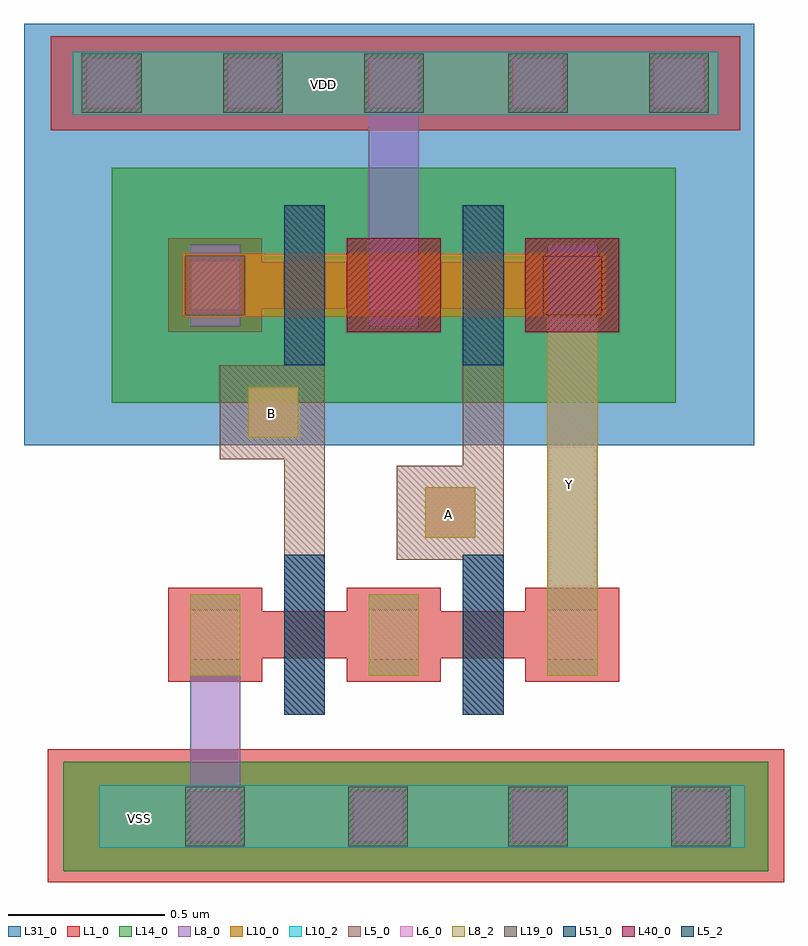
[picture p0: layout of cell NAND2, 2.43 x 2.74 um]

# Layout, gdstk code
import gdstk
lib = gdstk.Library(unit=1e-6, precision=5e-09)
def R(c, l, rs):  # rectangles x0, y0, x1, y1
    for r in rs: c.add(gdstk.rectangle(r[:2], r[2:], *l))
def A(c, l, x, y, w, h, nx, ny, dx, dy):  # array of equal rectangles
    R(c, l, [(x+i*dx, y+j*dy, x+i*dx+w, y+j*dy+h) for i in range(nx) for j in range(ny)])
L1_0 = (1, 0)
L5_0 = (5, 0)
L5_2 = (5, 2)
L6_0 = (6, 0)
L8_0 = (8, 0)
L8_2 = (8, 2)
L10_0 = (10, 0)
L10_2 = (10, 2)
L14_0 = (14, 0)
L19_0 = (19, 0)
L31_0 = (31, 0)
L40_0 = (40, 0)
L51_0 = (51, 0)

nmos = lib.new_cell('nmos')
R(nmos, L1_0, [(0,0,0.3,0.3), (0.57,0,0.87,0.3), (0,0.075,0.87,0.225)])
R(nmos, L5_0, [(0.37,-0.105,0.5,0.405)])
R(nmos, L5_2, [(0.37,-0.105,0.5,0.405)])
R(nmos, L6_0, [(0.07,0.07,0.23,0.23), (0.64,0.07,0.8,0.23)])
R(nmos, L8_0, [(0.07,0.02,0.23,0.28), (0.64,0.02,0.8,0.28)])
R(nmos, L8_2, [(0.07,0.02,0.23,0.28), (0.64,0.02,0.8,0.28)])
R(nmos, L51_0, [(0.37,-0.105,0.5,0.405)])
nmos.add(gdstk.Label('nmos', (0.435,0.15), layer=63, texttype=0))
nmos.add(gdstk.Label('nmos', (0.435,0.15), layer=51, texttype=0))

pmos = lib.new_cell('pmos')
R(pmos, L1_0, [(0,0,0.3,0.3), (0.57,0,0.87,0.3), (0,0.075,0.87,0.225)])
R(pmos, L5_0, [(0.37,-0.105,0.5,0.405), (0.37,-0.105,0.5,0.405)])
R(pmos, L6_0, [(0.07,0.07,0.23,0.23), (0.64,0.07,0.8,0.23)])
R(pmos, L8_0, [(0.07,0.02,0.23,0.28), (0.07,0.02,0.23,0.28), (0.64,0.02,0.8,0.28), (0.64,0.02,0.8,0.28)])
R(pmos, L14_0, [(-0.18,-0.225,1.05,0.525)])
R(pmos, L31_0, [(-0.31,-0.31,1.18,0.61)])
R(pmos, L40_0, [(0.57,0,0.87,0.3)])
R(pmos, L51_0, [(0.37,-0.105,0.5,0.405)])
pmos.add(gdstk.Label('pmos', (0.435,0.15), layer=63, texttype=0))
pmos.add(gdstk.Label('pmos', (0.435,0.15), layer=51, texttype=0))

nand2 = lib.new_cell('NAND2')
R(nand2, L1_0, [(-1.25,-0.63,1.1,-0.205), (-1.24,1.77,0.96,2.07)])
R(nand2, L5_0, [(-0.495,0.355,-0.365,1.05), (0.075,0.37,0.205,1.065), (-0.135,0.4,0.165,0.7), (-0.7,0.72,-0.4,1.02)])
A(nand2, L6_0, -1.125, 1.84, 0.16, 0.16, 3, 1, 0.45, 0)
R(nand2, L6_0, [(-0.795,-0.5,-0.635,-0.34), (-0.275,-0.5,-0.115,-0.34), (0.235,-0.5,0.395,-0.34), (0.755,-0.5,0.915,-0.34), (-0.045,0.47,0.115,0.63), (-0.61,0.79,-0.45,0.95), (0.235,1.84,0.395,2), (0.685,1.84,0.845,2)])
A(nand2, L8_0, -1.125, 1.84, 0.16, 0.16, 3, 1, 0.45, 0)
R(nand2, L8_0, [(-0.795,-0.5,-0.635,-0.34), (-0.795,-0.5,-0.635,0.24), (-0.275,-0.5,-0.115,-0.34), (0.235,-0.5,0.395,-0.34), (0.755,-0.5,0.915,-0.34), (0.345,0.08,0.505,1.355), (-0.045,0.47,0.115,0.63), (-0.61,0.79,-0.45,0.95), (-0.225,1.195,-0.065,2), (0.235,1.84,0.395,2), (0.685,1.84,0.845,2)])
R(nand2, L8_2, [(0.345,0.08,0.505,1.355), (-0.045,0.47,0.115,0.63), (-0.61,0.79,-0.45,0.95)])
R(nand2, L10_0, [(-1.085,-0.52,0.975,-0.32), (-0.82,1.175,0.53,1.375), (-1.17,1.82,0.89,2.02)])
R(nand2, L10_2, [(-1.085,-0.52,0.975,-0.32), (-1.17,1.82,0.89,2.02)])
R(nand2, L14_0, [(-1.2,-0.595,1.05,-0.245)])
A(nand2, L19_0, -1.14, 1.825, 0.19, 0.19, 3, 1, 0.45, 0)
R(nand2, L19_0, [(-0.81,-0.515,-0.62,-0.325), (-0.29,-0.515,-0.1,-0.325), (0.22,-0.515,0.41,-0.325), (0.74,-0.515,0.93,-0.325), (-0.81,1.18,-0.62,1.37), (0.33,1.18,0.52,1.37), (0.22,1.825,0.41,2.015), (0.67,1.825,0.86,2.015)])
R(nand2, L31_0, [(-1.325,0.765,1.005,2.11)])
nand2.add(gdstk.Reference(nmos, (-0.865,0.01)))
nand2.add(gdstk.Reference(nmos, (-0.295,0.01)))
nand2.add(gdstk.Reference(pmos, (-0.865,1.125)))
nand2.add(gdstk.Reference(pmos, (-0.295,1.125)))
nand2.add(gdstk.Label('B', (-0.535,0.865), layer=8, texttype=25))
nand2.add(gdstk.Label('A', (0.03,0.545), layer=8, texttype=25))
nand2.add(gdstk.Label('Y', (0.415,0.64), layer=8, texttype=25))
nand2.add(gdstk.Label('VDD', (-0.37,1.915), layer=10, texttype=25))
nand2.add(gdstk.Label('VSS', (-0.955,-0.425), layer=10, texttype=25))

lib.write_gds('NAND2.gds')
